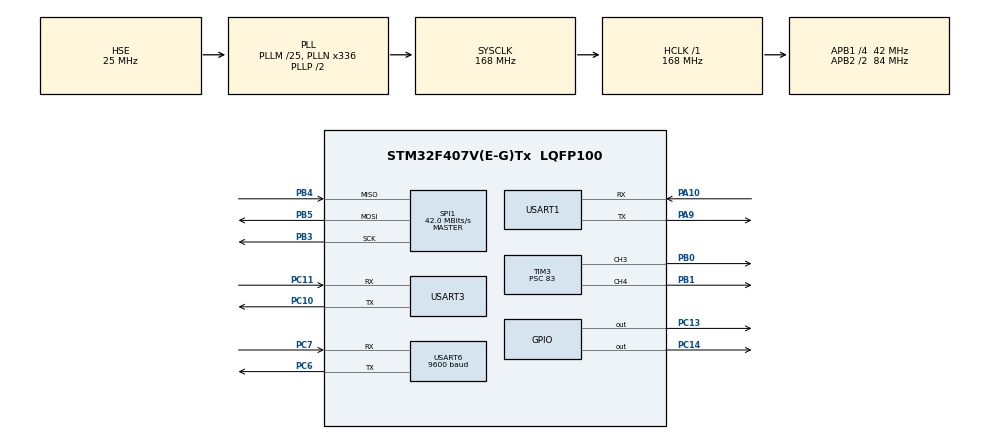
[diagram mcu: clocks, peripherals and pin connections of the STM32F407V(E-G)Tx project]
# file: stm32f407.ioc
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FREERTOS.Tasks01=defaultTask,0,128,StartDefaultTask,Default,NULL
FREERTOS.configMAX_CO_ROUTINE_PRIORITIES=3
Mcu.Family=STM32F4
Mcu.Name=STM32F407V(E-G)Tx
Mcu.Package=LQFP100
NVIC.PriorityGroup=NVIC_PRIORITYGROUP_4
NVIC.USART1_IRQn=true\:6\:0\:true\:false\:true\:true
NVIC.USART3_IRQn=true\:8\:0\:true\:false\:true\:true
NVIC.USART6_IRQn=true\:7\:0\:true\:false\:true\:true
PA10.Mode=Asynchronous
PA10.Signal=USART1_RX
PA9.Mode=Asynchronous
PA9.Signal=USART1_TX
PB0.Signal=S_TIM3_CH3
PB1.Signal=S_TIM3_CH4
PB3.Mode=Full_Duplex_Master
PB3.Signal=SPI1_SCK
PB4.Mode=Full_Duplex_Master
PB4.Signal=SPI1_MISO
PB5.Mode=Full_Duplex_Master
PB5.Signal=SPI1_MOSI
PC10.Mode=Asynchronous
PC10.Signal=USART3_TX
PC11.Mode=Asynchronous
PC11.Signal=USART3_RX
PC13-ANTI_TAMP.GPIO_PuPd=GPIO_PULLUP
PC13-ANTI_TAMP.PinState=GPIO_PIN_RESET
PC13-ANTI_TAMP.Signal=GPIO_Output
PC14-OSC32_IN.GPIO_PuPd=GPIO_PULLUP
PC14-OSC32_IN.PinState=GPIO_PIN_SET
PC14-OSC32_IN.Signal=GPIO_Output
PC6.Mode=Asynchronous
PC6.Signal=USART6_TX
PC7.Mode=Asynchronous
PC7.Signal=USART6_RX
PH0-OSC_IN.Mode=HSE-External-Oscillator
PH0-OSC_IN.Signal=RCC_OSC_IN
PH1-OSC_OUT.Mode=HSE-External-Oscillator
PH1-OSC_OUT.Signal=RCC_OSC_OUT
ProjectManager.HeapSize=0x200
ProjectManager.StackSize=0x400
ProjectManager.TargetToolchain=SW4STM32
RCC.48MHZClocksFreq_Value=48000000
RCC.AHBFreq_Value=168000000
RCC.APB1CLKDivider=RCC_HCLK_DIV4
RCC.APB1Freq_Value=42000000
RCC.APB1TimFreq_Value=84000000
RCC.APB2CLKDivider=RCC_HCLK_DIV2
RCC.APB2Freq_Value=84000000
RCC.APB2TimFreq_Value=168000000
RCC.CortexFreq_Value=168000000
RCC.HCLKFreq_Value=168000000
RCC.HSE_VALUE=25000000
RCC.HSI_VALUE=16000000
RCC.LSE_VALUE=32768
RCC.PLLM=25
RCC.PLLN=336
RCC.PLLQ=7
RCC.PLLSourceVirtual=RCC_PLLSOURCE_HSE
RCC.SYSCLKFreq_VALUE=168000000
RCC.SYSCLKSource=RCC_SYSCLKSOURCE_PLLCLK
RCC.VCOOutputFreq_Value=336000000
SH.S_TIM3_CH3.0=TIM3_CH3,PWM Generation3 CH3
SH.S_TIM3_CH4.0=TIM3_CH4,PWM Generation4 CH4
SPI1.CalculateBaudRate=42.0 MBits/s
SPI1.Direction=SPI_DIRECTION_2LINES
SPI1.Mode=SPI_MODE_MASTER
SPI1.VirtualType=VM_MASTER
TIM3.Channel-PWM\ Generation3\ CH3=TIM_CHANNEL_3
TIM3.Channel-PWM\ Generation4\ CH4=TIM_CHANNEL_4
TIM3.Period=2000
TIM3.Prescaler=83
USART1.VirtualMode=VM_ASYNC
USART3.VirtualMode=VM_ASYNC
USART6.BaudRate=9600
USART6.VirtualMode=VM_ASYNC
VP_FREERTOS_VS_ENABLE.Mode=Enabled
VP_TIM3_VS_ClockSourceINT.Mode=Internal
board=stm32f407

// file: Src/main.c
/**
  ******************************************************************************
  * File Name          : main.c
  * Description        : Main program body
  ******************************************************************************
  *
  * Copyright (c) 2017 STMicroelectronics International N.V.
  * All rights reserved.
  *
  * Redistribution and use in source and binary forms, with or without
  * modification, are permitted, provided that the following conditions are met:
  *
  * 1. Redistribution of source code must retain the above copyright notice,
  *    this list of conditions and the following disclaimer.
  * 2. Redistributions in binary form must reproduce the above copyright notice,
  *    this list of conditions and the following disclaimer in the documentation
  *    and/or other materials provided with the distribution.
  * 3. Neither the name of STMicroelectronics nor the names of other
  *    contributors to this software may be used to endorse or promote products
  *    derived from this software without specific written permission.
  * 4. This software, including modifications and/or derivative works of this
  *    software, must execute solely and exclusively on microcontroller or
  *    microprocessor devices manufactured by or for STMicroelectronics.
  * 5. Redistribution and use of this software other than as permitted under
  *    this license is void and will automatically terminate your rights under
  *    this license.
  *
  * THIS SOFTWARE IS PROVIDED BY STMICROELECTRONICS AND CONTRIBUTORS "AS IS"
  * AND ANY EXPRESS, IMPLIED OR STATUTORY WARRANTIES, INCLUDING, BUT NOT
  * LIMITED TO, THE IMPLIED WARRANTIES OF MERCHANTABILITY, FITNESS FOR A
  * PARTICULAR PURPOSE AND NON-INFRINGEMENT OF THIRD PARTY INTELLECTUAL PROPERTY
  * RIGHTS ARE DISCLAIMED TO THE FULLEST EXTENT PERMITTED BY LAW. IN NO EVENT
  * SHALL STMICROELECTRONICS OR CONTRIBUTORS BE LIABLE FOR ANY DIRECT, INDIRECT,
  * INCIDENTAL, SPECIAL, EXEMPLARY, OR CONSEQUENTIAL DAMAGES (INCLUDING, BUT NOT
  * LIMITED TO, PROCUREMENT OF SUBSTITUTE GOODS OR SERVICES; LOSS OF USE, DATA,
  * OR PROFITS; OR BUSINESS INTERRUPTION) HOWEVER CAUSED AND ON ANY THEORY OF
  * LIABILITY, WHETHER IN CONTRACT, STRICT LIABILITY, OR TORT (INCLUDING
  * NEGLIGENCE OR OTHERWISE) ARISING IN ANY WAY OUT OF THE USE OF THIS SOFTWARE,
  * EVEN IF ADVISED OF THE POSSIBILITY OF SUCH DAMAGE.
  *
  ******************************************************************************
  */
#include "main.h"
#include "stm32f4xx_hal.h"
#include "cmsis_os.h"
#include "spi.h"
#include "tim.h"
#include "usart.h"
#include "gpio.h"

/* USER CODE BEGIN Includes */
#include "sys.h"
#include "delay.h"
#include "led.h"
#include "pid.h"
#include "utask.h"
#include "IMU.h"
#include "AHRS_states.h"
/* USER CODE END Includes */

/* USER CODE BEGIN PV */
/* Private variables ---------------------------------------------------------*/

/* USER CODE END PV */

void SystemClock_Config(void);
void Error_Handler(void);
void MX_FREERTOS_Init(void);

/* USER CODE BEGIN PFP */
/* Private function prototypes -----------------------------------------------*/

/* USER CODE END PFP */

int main(void)
{

  /* USER CODE BEGIN 1 */
	uint32_t i = 0;

  /* USER CODE END 1 */

  /* MCU Configuration----------------------------------------------------------*/

  /* Reset of all peripherals, Initializes the Flash interface and the Systick. */
  HAL_Init();

  /* Configure the system clock */
  SystemClock_Config();

  /* Initialize all configured peripherals */
  MX_GPIO_Init();
  MX_USART1_UART_Init();
  MX_USART3_UART_Init();
  MX_USART6_UART_Init();
  MX_TIM3_Init();
  MX_SPI1_Init();

  /* USER CODE BEGIN 2 */
  delay_init(168);
  TIM3_PWM_Init(1999,83);
  HAL_UART_Receive_IT(&huart3, u3_rx_buf, 1);

  SPI1_Init();

  IMU_init();
  register_led_table(led_table, sizeof(led_table) / sizeof(led_priv));
  register_led_flash_table(led_flash_table, sizeof(led_flash_table) / sizeof(led_action));
  register_task_table(fast_task_table, sizeof(fast_task_table) / sizeof(task_table_t),
			         slow_task_table, sizeof(slow_task_table) / sizeof(task_table_t),
			         super_task_table, sizeof(super_task_table) / sizeof(task_table_t));

  EKF_Init();
  /* USER CODE END 2 */

  /* Call init function for freertos objects (in freertos.c) */
  MX_FREERTOS_Init();

  /* Start scheduler */
  osKernelStart();

  /* We should never get here as control is now taken by the scheduler */

  /* Infinite loop */
  while (1)
  {

  }

}

/** System Clock Configuration
*/
void SystemClock_Config(void)
{

  RCC_OscInitTypeDef RCC_OscInitStruct;
  RCC_ClkInitTypeDef RCC_ClkInitStruct;

    /**Configure the main internal regulator output voltage
    */
  __HAL_RCC_PWR_CLK_ENABLE();

  __HAL_PWR_VOLTAGESCALING_CONFIG(PWR_REGULATOR_VOLTAGE_SCALE1);

    /**Initializes the CPU, AHB and APB busses clocks
    */
  RCC_OscInitStruct.OscillatorType = RCC_OSCILLATORTYPE_HSE;
  RCC_OscInitStruct.HSEState = RCC_HSE_ON;
  RCC_OscInitStruct.PLL.PLLState = RCC_PLL_ON;
  RCC_OscInitStruct.PLL.PLLSource = RCC_PLLSOURCE_HSE;
  RCC_OscInitStruct.PLL.PLLM = 25;
  RCC_OscInitStruct.PLL.PLLN = 336;
  RCC_OscInitStruct.PLL.PLLP = RCC_PLLP_DIV2;
  RCC_OscInitStruct.PLL.PLLQ = 7;
  if (HAL_RCC_OscConfig(&RCC_OscInitStruct) != HAL_OK)
  {
    Error_Handler();
  }

    /**Initializes the CPU, AHB and APB busses clocks
    */
  RCC_ClkInitStruct.ClockType = RCC_CLOCKTYPE_HCLK|RCC_CLOCKTYPE_SYSCLK
                              |RCC_CLOCKTYPE_PCLK1|RCC_CLOCKTYPE_PCLK2;
  RCC_ClkInitStruct.SYSCLKSource = RCC_SYSCLKSOURCE_PLLCLK;
  RCC_ClkInitStruct.AHBCLKDivider = RCC_SYSCLK_DIV1;
  RCC_ClkInitStruct.APB1CLKDivider = RCC_HCLK_DIV4;
  RCC_ClkInitStruct.APB2CLKDivider = RCC_HCLK_DIV2;

  if (HAL_RCC_ClockConfig(&RCC_ClkInitStruct, FLASH_LATENCY_5) != HAL_OK)
  {
    Error_Handler();
  }

    /**Configure the Systick interrupt time
    */
  HAL_SYSTICK_Config(HAL_RCC_GetHCLKFreq()/1000);

    /**Configure the Systick
    */
  HAL_SYSTICK_CLKSourceConfig(SYSTICK_CLKSOURCE_HCLK);

  /* SysTick_IRQn interrupt configuration */
  HAL_NVIC_SetPriority(SysTick_IRQn, 15, 0);
}

void Error_Handler(void)
{
  while(1)
  {
  }
}

/************************ (C) COPYRIGHT STMicroelectronics *****END OF FILE****/

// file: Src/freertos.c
/**
  ******************************************************************************
  * File Name          : freertos.c
  * Description        : Code for freertos applications
  ******************************************************************************
  *
  * Copyright (c) 2017 STMicroelectronics International N.V.
  * All rights reserved.
  *
  * Redistribution and use in source and binary forms, with or without
  * modification, are permitted, provided that the following conditions are met:
  *
  * 1. Redistribution of source code must retain the above copyright notice,
  *    this list of conditions and the following disclaimer.
  * 2. Redistributions in binary form must reproduce the above copyright notice,
  *    this list of conditions and the following disclaimer in the documentation
  *    and/or other materials provided with the distribution.
  * 3. Neither the name of STMicroelectronics nor the names of other
  *    contributors to this software may be used to endorse or promote products
  *    derived from this software without specific written permission.
  * 4. This software, including modifications and/or derivative works of this
  *    software, must execute solely and exclusively on microcontroller or
  *    microprocessor devices manufactured by or for STMicroelectronics.
  * 5. Redistribution and use of this software other than as permitted under
  *    this license is void and will automatically terminate your rights under
  *    this license.
  *
  * THIS SOFTWARE IS PROVIDED BY STMICROELECTRONICS AND CONTRIBUTORS "AS IS"
  * AND ANY EXPRESS, IMPLIED OR STATUTORY WARRANTIES, INCLUDING, BUT NOT
  * LIMITED TO, THE IMPLIED WARRANTIES OF MERCHANTABILITY, FITNESS FOR A
  * PARTICULAR PURPOSE AND NON-INFRINGEMENT OF THIRD PARTY INTELLECTUAL PROPERTY
  * RIGHTS ARE DISCLAIMED TO THE FULLEST EXTENT PERMITTED BY LAW. IN NO EVENT
  * SHALL STMICROELECTRONICS OR CONTRIBUTORS BE LIABLE FOR ANY DIRECT, INDIRECT,
  * INCIDENTAL, SPECIAL, EXEMPLARY, OR CONSEQUENTIAL DAMAGES (INCLUDING, BUT NOT
  * LIMITED TO, PROCUREMENT OF SUBSTITUTE GOODS OR SERVICES; LOSS OF USE, DATA,
  * OR PROFITS; OR BUSINESS INTERRUPTION) HOWEVER CAUSED AND ON ANY THEORY OF
  * LIABILITY, WHETHER IN CONTRACT, STRICT LIABILITY, OR TORT (INCLUDING
  * NEGLIGENCE OR OTHERWISE) ARISING IN ANY WAY OUT OF THE USE OF THIS SOFTWARE,
  * EVEN IF ADVISED OF THE POSSIBILITY OF SUCH DAMAGE.
  *
  ******************************************************************************
  */

#include "FreeRTOS.h"
#include "task.h"
#include "cmsis_os.h"

/* USER CODE BEGIN Includes */
#include "usart.h"
#include "tim.h"
#include "pid.h"
#include "led.h"
#include "utask.h"
/* USER CODE END Includes */

osThreadId defaultTaskHandle;

/* USER CODE BEGIN Variables */
osThreadId fastTaskHandle;
osThreadId slowTaskHandle;
osThreadId superTaskHandle;
/* USER CODE END Variables */

void StartDefaultTask(void const * argument);

void MX_FREERTOS_Init(void); /* (MISRA C 2004 rule 8.1) */

/* USER CODE BEGIN FunctionPrototypes */
void FastTask(void const * argument);
void SlowTask(void const * argument);
void SuperTask(void const * argument);
/* USER CODE END FunctionPrototypes */

/* Hook prototypes */

/* Init FreeRTOS */

void MX_FREERTOS_Init(void) {

  /* Create the thread(s) */
  /* definition and creation of defaultTask */
  osThreadDef(defaultTask, StartDefaultTask, osPriorityNormal, 0, 128);
  defaultTaskHandle = osThreadCreate(osThread(defaultTask), NULL);

  /* USER CODE BEGIN RTOS_THREADS */
  /* add threads, ... */
  osThreadDef(fastTask, FastTask, 2, 0, 2048);
  fastTaskHandle = osThreadCreate(osThread(fastTask), NULL);

  osThreadDef(slowTask, SlowTask, 1, 0, 1024);
  slowTaskHandle = osThreadCreate(osThread(slowTask), NULL);

  osThreadDef(superTask, SuperTask, 3, 0, 256);
  superTaskHandle = osThreadCreate(osThread(superTask), NULL);
  /* USER CODE END RTOS_THREADS */

}

/* StartDefaultTask function */
void StartDefaultTask(void const * argument)
{

  for(;;)
  {
    osDelay(1);
  }
}

/* USER CODE BEGIN Application */
void FastTask(void const * argument)
{
	while(1)
	{
		fast_task();
		osDelay(2);//500HZ
	}
}

void SlowTask(void const * argument)
{
	while(1)
	{
		slow_task();
		osDelay(20);//50HZ
	}
}

void SuperTask(void const * argument)
{
	while(1)
	{
		super_task();
		osDelay(1);//1000HZ
	}
}

/* USER CODE END Application */

/************************ (C) COPYRIGHT STMicroelectronics *****END OF FILE****/
